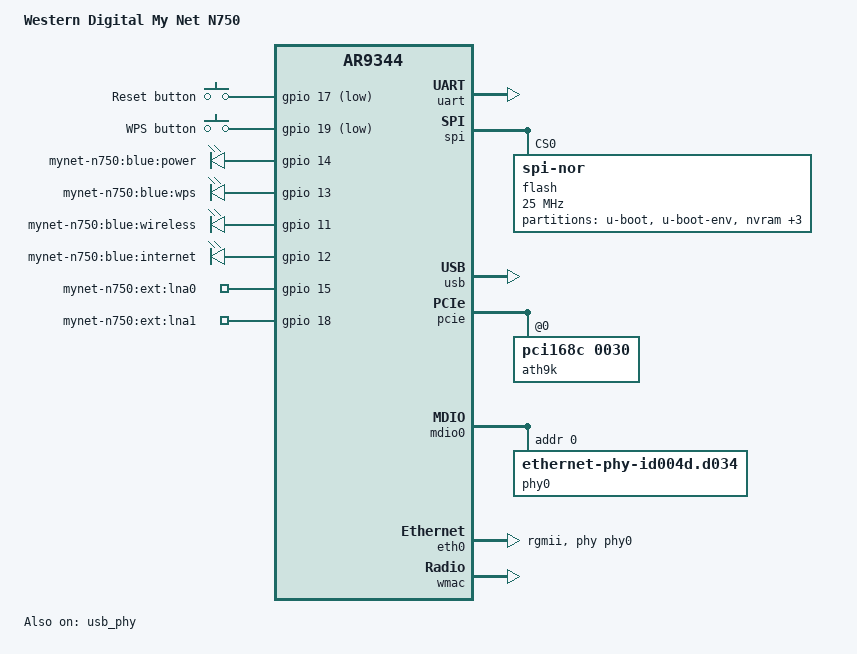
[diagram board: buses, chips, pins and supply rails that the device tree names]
// SPDX-License-Identifier: GPL-2.0-or-later OR MIT
/dts-v1/;

/* This is a DEMO file - it comes with no support, if there's anything wrong. Please fix it yourself. */

#include <dt-bindings/gpio/gpio.h>
#include <dt-bindings/input/input.h>

#include "ar9344.dtsi"

/ {
	model = "Western Digital My Net N750";
	compatible = "wd,mynet-n750", "qca,ar9344";

	aliases {
		serial0 = &uart;
		led-boot = &power;
		led-failsafe = &power;
		led-running = &power;
		led-upgrade = &power;
	};

	keys {
		compatible = "gpio-keys-polled";
		poll-interval = <20>;

		reset {
			label = "Reset button";
			linux,code = <KEY_RESTART>;
			gpios = <&gpio 17 GPIO_ACTIVE_LOW>;
			debounce-interval = <60>;
		};

		wps {
			label = "WPS button";
			linux,code = <KEY_WPS_BUTTON>;
			gpios = <&gpio 19 GPIO_ACTIVE_LOW>;
			debounce-interval = <60>;
		};
	};

	leds {
		compatible = "gpio-leds";

		power: power {
			label = "mynet-n750:blue:power";
			gpios = <&gpio 14 GPIO_ACTIVE_HIGH>;
			default-state = "on";
		};

		wps {
			label = "mynet-n750:blue:wps";
			gpios = <&gpio 13 GPIO_ACTIVE_HIGH>;
		};

		wireless {
			label = "mynet-n750:blue:wireless";
			gpios = <&gpio 11 GPIO_ACTIVE_HIGH>;
		};

		internet {
			label = "mynet-n750:blue:internet";
			gpios = <&gpio 12 GPIO_ACTIVE_HIGH>;
		};
	};

	gpio-export {
		compatible = "gpio-export";

		gpio_ext_lna0 {
			gpio-export,name = "mynet-n750:ext:lna0";
			gpio-export,output = <1>;
			gpios = <&gpio 15 GPIO_ACTIVE_HIGH>;
		};

		gpio_ext_lna1 {
			gpio-export,name = "mynet-n750:ext:lna1";
			gpio-export,output = <1>;
			gpios = <&gpio 18 GPIO_ACTIVE_HIGH>;
		};
	};
};

&ref {
	clock-frequency = <40000000>;
};

&uart {
	status = "okay";
};

&spi {
	num-cs = <1>;

	status = "okay";

	flash@0 {
		compatible = "jedec,spi-nor";
		reg = <0>;
		spi-max-frequency = <25000000>;

		/* spi0.0:256k(u-boot)ro,64k(u-boot-env)ro,64k(devdata)ro,64k(devconf)ro,15872k(firmware),64k(radiocfg)ro */

		partitions {
			compatible = "fixed-partitions";
			#address-cells = <1>;
			#size-cells = <1>;

			uboot: partition@0 {
				label = "u-boot";
				reg = <0x000000 0x040000>;
				read-only;
			};

			partition@40000 {
				label = "u-boot-env";
				reg = <0x040000 0x010000>;
				read-only;
			};

			nvram: partition@50000 {
				label = "nvram";
				reg = <0x050000 0x010000>;
				read-only;
			};

			partition@60000 {
				label = "devconf";
				reg = <0x060000 0x010000>;
				read-only;
			};

			partition@70000 {
				label = "firmware";
				reg = <0x070000 0x0f80000>;
			};

			art: partition@ff0000 {
				label = "art";
				reg = <0xff0000 0x010000>;
				read-only;
			};
		};
	};
};

&usb {
	status = "okay";
};

&usb_phy {
	status = "okay";
};

&pcie {
	status = "okay";

	ath9k: wifi@0,0 {
		compatible = "pci168c,0030";
		reg = <0x0000 0 0 0 0>;
		qca,no-eeprom;
	};
};

&mdio1 {
	status = "disabled";
};

&mdio0 {
	status = "okay";
	phy-mask = <0>;

	/* Note: this will need to be reworked for DSA */
	phy0: ethernet-phy@0 {
		/*
		 * The bootloader on this board powers down all PHYs
		 * on the switch before booting the kernel. We nave
		 * to force the compatible here, so that the switch
		 * is discoverable by the mdio bus scan and get
		 * detected correctly.
		 * Again: this can be likely be removed when the
		 * switch is supported by DSA.
		 */
		compatible = "ethernet-phy-id004d.d034";

		reg = <0>;
		phy-mode = "rgmii";

		qca,ar8327-initvals = <
			0x04 0x07600000 /* PORT0 PAD MODE CTRL */
			0x50 0xcc35cc35 /* LED_CTRL0 */
			0x54 0xca35ca35 /* LED_CTRL1 */
			0x58 0xc935c935 /* LED_CTRL2 */
			0x5c 0x03ffff00 /* LED_CTRL3 */
			0x7c 0x0000007e /* PORT0_STATUS */
			>;
	};
};

&eth0 {
	status = "okay";

	phy-mode = "rgmii";

	/* GMAC0 is connected to an AR8327N switch */
	phy-handle = <&phy0>;

	gmac-config {
		device = <&gmac>;
		rgmii-gmac0 = <1>;
	};
};

&wmac {
	status = "okay";
	qca,no-eeprom;
};
